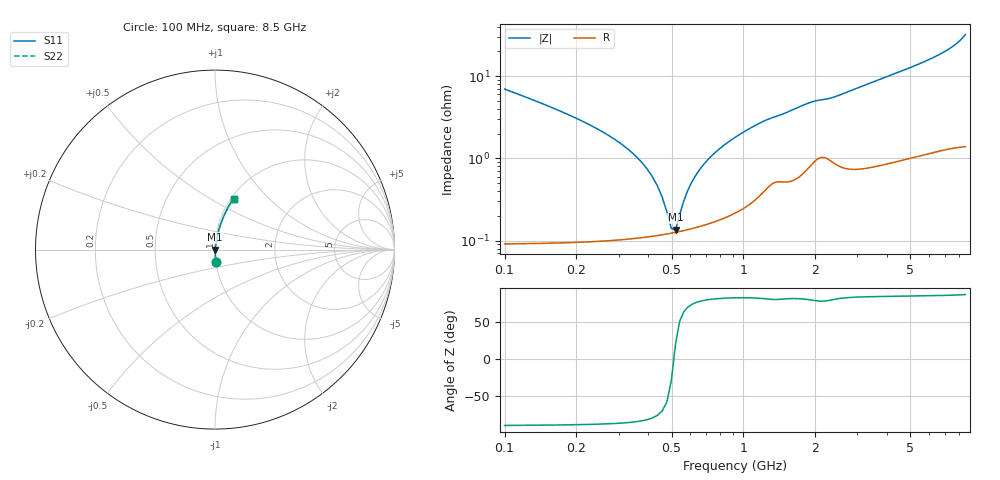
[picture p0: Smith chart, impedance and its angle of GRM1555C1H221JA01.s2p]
!Murata Part Number: GRM1555C1H221JA01
!These Parameters are Measured in Series Mode Connection
!Data Generated on Mar 30, 2021
!  o--ll--o
!Port1  Port2
!  o------o
!Operation Temp=25[degC], DC Bias Voltage=0[V]
!Freq. Start=100[MHz] Stop=9[GHz] 401[Steps]
# Hz S RI R 50
!Freq.(Hz) S11(Real) S11(Imag) S21(Real) S21(Imag) S12(Real) S12(Imag) S22(Real) S22(Imag)
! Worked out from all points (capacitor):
!   401 points, 100 MHz to 8.5 GHz, reference 50 ohm
!   read as one part in series: C = 220 pF near 142 MHz
!   lowest |Z| = 136 mohm at 520 MHz (marker M1)
!   series resonance near 511 MHz, so ESL is about 440 pH
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1e8  0.00572 -0.0691  0.9943 0.0691  0.9943 0.0691  0.00572 -0.0691
1.42e8  0.00313 -0.0468  0.9969 0.0468  0.9969 0.0468  0.00313 -0.0468
3.52e8  0.00118 -0.0108  0.9988 0.0108  0.9988 0.0108  0.00118 -0.0108
4.15e8  0.00116 -0.00592  0.9988 0.00592  0.9988 0.00592  0.00116 -0.00592
4.78e8  0.00121 -0.00189  0.9988 0.00189  0.9988 0.00189  0.00121 -0.00189
4.99e8  0.00123 -0.000669  0.9988 0.000669  0.9988 0.000669  0.00123 -0.000669
5.2e8  0.00126 0.000497  0.9987 -0.000497  0.9987 -0.000497  0.00126 0.000497
5.41e8  0.00129 0.00162  0.9987 -0.00162  0.9987 -0.00162  0.00129 0.00162
6.04e8  0.00141 0.00476  0.9986 -0.00476  0.9986 -0.00476  0.00141 0.00476
6.46e8  0.00151 0.0067  0.9985 -0.0067  0.9985 -0.0067  0.00151 0.0067
7.09e8  0.00168 0.00945  0.9983 -0.00945  0.9983 -0.00945  0.00168 0.00945
8.14e8  0.00202 0.0137  0.998 -0.0137  0.998 -0.0137  0.00202 0.0137
9.61e8  0.00266 0.0192  0.9973 -0.0192  0.9973 -0.0192  0.00266 0.0192
1.129e9  0.00381 0.0251  0.9962 -0.0251  0.9962 -0.0251  0.00381 0.0251
1.276e9  0.00539 0.0295  0.9946 -0.0295  0.9946 -0.0295  0.00539 0.0295
1.507e9  0.00637 0.0351  0.9936 -0.0351  0.9936 -0.0351  0.00637 0.0351
1.927e9  0.0105 0.0468  0.9895 -0.0468  0.9895 -0.0468  0.0105 0.0468
2.914e9  0.0119 0.0676  0.9881 -0.0676  0.9881 -0.0676  0.0119 0.0676
4.3e9  0.0199 0.1036  0.9801 -0.1036  0.9801 -0.1036  0.0199 0.1036
5.707e9  0.0319 0.1427  0.9681 -0.1427  0.9681 -0.1427  0.0319 0.1427
7.114e9  0.0519 0.1928  0.9481 -0.1928  0.9481 -0.1928  0.0519 0.1928
8.5e9  0.1032 0.2834  0.8968 -0.2834  0.8968 -0.2834  0.1032 0.2834
